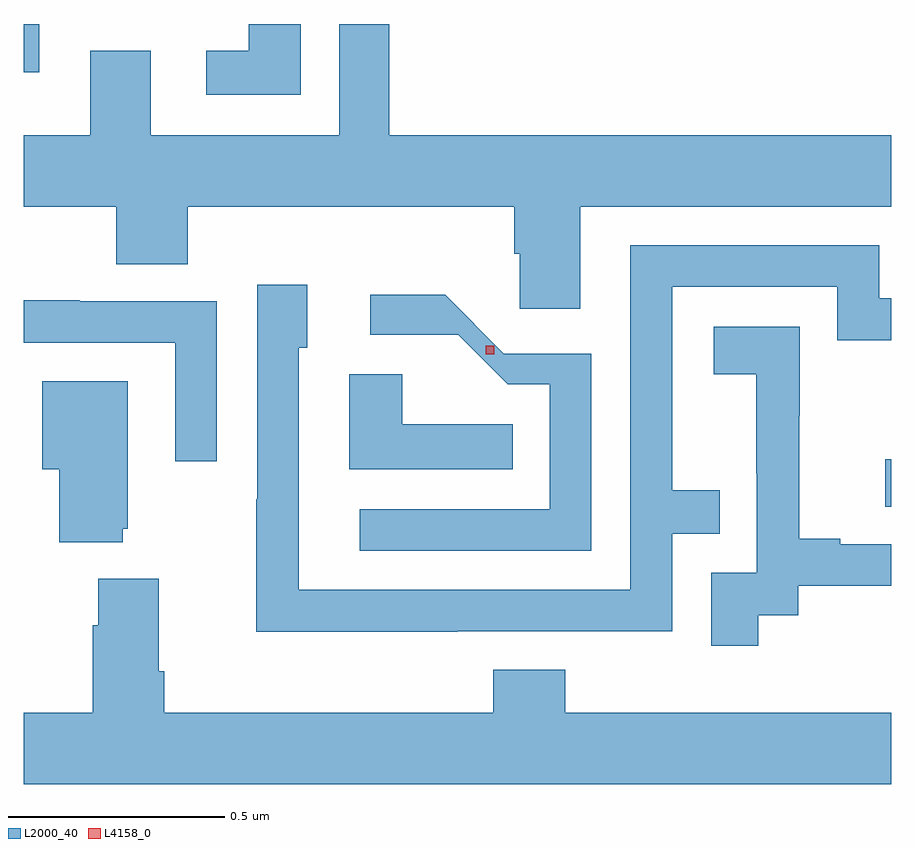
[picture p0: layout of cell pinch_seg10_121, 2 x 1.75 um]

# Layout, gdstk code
import gdstk
lib = gdstk.Library(unit=1e-6, precision=1e-09)
def R(c, l, rs):  # rectangles x0, y0, x1, y1
    for r in rs: c.add(gdstk.rectangle(r[:2], r[2:], *l))
def P(c, l, *ps):  # polygons
    for p in ps: c.add(gdstk.Polygon(p, *l))
L2000_40 = (2000, 40)
L4158_0 = (4158, 0)

pinch_seg10_121 = lib.new_cell('pinch_seg10_121')
R(pinch_seg10_121, L2000_40, [(656.109,1322.268,656.122,1322.377), (654.122,1323.27,654.157,1323.381)])
P(pinch_seg10_121, L2000_40, [(655.405,1322.96),(656.122,1322.96),(656.122,1323.124),(654.965,1323.124),(654.965,1323.381),(654.849,1323.381),(654.849,1323.124),(654.415,1323.124),(654.415,1323.319),(654.275,1323.319),(654.275,1323.124),(654.122,1323.124),(654.122,1322.96),(654.335,1322.96),(654.335,1322.827),(654.5,1322.827),(654.5,1322.96),(655.253,1322.96),(655.253,1322.851),(655.266,1322.851),(655.266,1322.724),(655.405,1322.724)],
  [(654.76,1323.381),(654.641,1323.381),(654.641,1323.319),(654.543,1323.319),(654.543,1323.218),(654.76,1323.218)],
  [(655.121,1321.98),(655.617,1321.98),(655.617,1322.205),(655.727,1322.205),(655.727,1322.306),(655.617,1322.306),(655.617,1322.775),(655.998,1322.775),(655.998,1322.652),(656.122,1322.652),(656.122,1322.748),(656.095,1322.748),(656.095,1322.871),(655.521,1322.871),(655.521,1322.076),(654.756,1322.076),(654.756,1322.634),(654.775,1322.634),(654.775,1322.779),(654.66,1322.779),(654.66,1322.285),(654.658,1322.285),(654.658,1321.979),(655.121,1321.979)],
  [(655.431,1322.62),(655.229,1322.62),(655.094,1322.756),(654.921,1322.756),(654.921,1322.664),(655.124,1322.664),(655.238,1322.55),(655.335,1322.55),(655.335,1322.262),(654.897,1322.262),(654.897,1322.166),(655.431,1322.166)],
  [(654.567,1322.742),(654.251,1322.742),(654.251,1322.744),(654.122,1322.744),(654.122,1322.646),(654.471,1322.646),(654.471,1322.373),(654.567,1322.373)],
  [(655.816,1322.017),(655.908,1322.017),(655.908,1322.085),(656.122,1322.085),(656.122,1322.181),(656.005,1322.181),(656.005,1322.194),(655.91,1322.194),(655.91,1322.477),(655.911,1322.477),(655.911,1322.683),(655.713,1322.683),(655.713,1322.573),(655.811,1322.573),(655.811,1322.345),(655.812,1322.345),(655.812,1322.115),(655.707,1322.115),(655.707,1321.947),(655.816,1321.947)],
  [(655.25,1322.458),(654.994,1322.458),(654.994,1322.573),(654.872,1322.573),(654.872,1322.354),(655.25,1322.354)],
  [(654.35,1322.217),(654.361,1322.217),(654.361,1322.557),(654.164,1322.557),(654.164,1322.354),(654.203,1322.354),(654.203,1322.186),(654.35,1322.186)],
  [(656.122,1321.792),(655.37,1321.792),(655.37,1321.891),(655.205,1321.891),(655.205,1321.792),(654.446,1321.792),(654.446,1321.888),(654.433,1321.888),(654.433,1322.101),(654.293,1322.101),(654.293,1321.994),(654.281,1321.994),(654.281,1321.792),(654.122,1321.792),(654.122,1321.628),(656.122,1321.628)])
R(pinch_seg10_121, L4158_0, [(655.187,1322.619,655.207,1322.639)])

lib.write_gds('pinch_seg10_121.gds')
